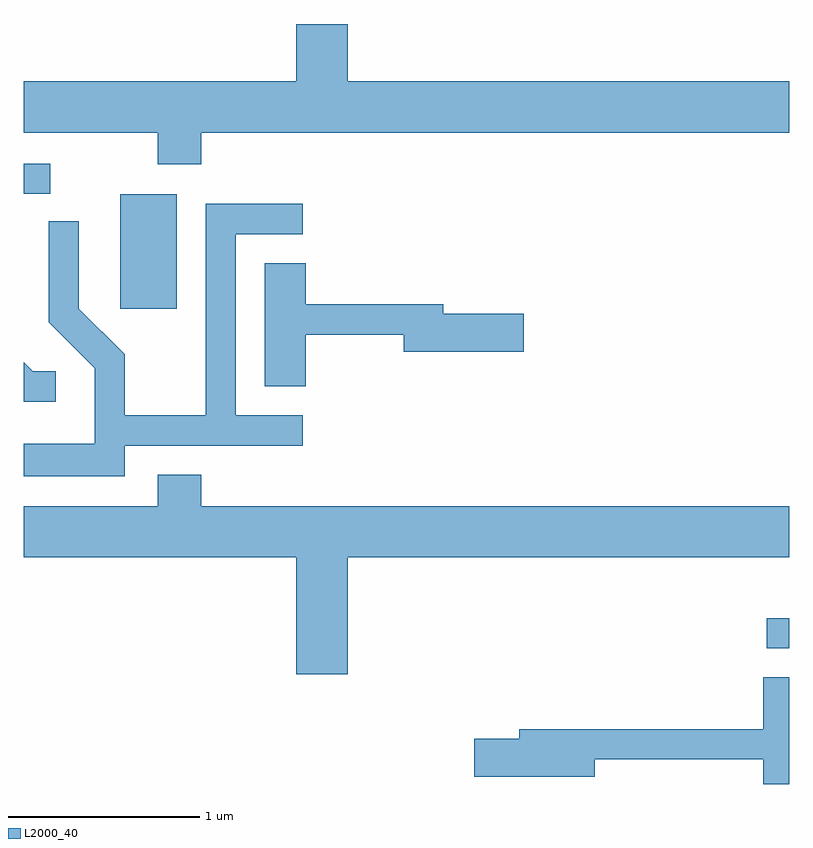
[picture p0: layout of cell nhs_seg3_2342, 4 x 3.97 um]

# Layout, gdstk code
import gdstk
lib = gdstk.Library(unit=1e-6, precision=1e-09)
def R(c, l, rs):  # rectangles x0, y0, x1, y1
    for r in rs: c.add(gdstk.rectangle(r[:2], r[2:], *l))
def P(c, l, *ps):  # polygons
    for p in ps: c.add(gdstk.Polygon(p, *l))
L2000_40 = (2000, 40)

nhs_seg3_2342 = lib.new_cell('nhs_seg3_2342')
R(nhs_seg3_2342, L2000_40, [(257.493,1176.601,257.611,1176.759), (254.116,1178.376,254.409,1178.974), (253.611,1178.976,253.748,1179.134)])
P(nhs_seg3_2342, L2000_40, [(254.539,1179.296),(257.611,1179.296),(257.611,1179.564),(255.304,1179.564),(255.304,1179.864),(255.036,1179.864),(255.036,1179.564),(253.611,1179.564),(253.611,1179.296),(254.311,1179.296),(254.311,1179.131),(254.539,1179.131)],
  [(254.139,1177.661),(255.068,1177.661),(255.068,1177.819),(254.719,1177.819),(254.719,1178.766),(255.068,1178.766),(255.068,1178.924),(254.561,1178.924),(254.561,1177.819),(254.139,1177.819),(254.139,1178.137),(253.899,1178.377),(253.899,1178.833),(253.741,1178.833),(253.741,1178.304),(253.981,1178.064),(253.981,1177.669),(253.611,1177.669),(253.611,1177.501),(254.139,1177.501)],
  [(255.084,1178.241),(255.596,1178.241),(255.596,1178.151),(256.224,1178.151),(256.224,1178.349),(255.804,1178.349),(255.804,1178.399),(255.084,1178.399),(255.084,1178.614),(254.871,1178.614),(254.871,1177.971),(255.084,1177.971)],
  [(253.778,1178.049),(253.657,1178.049),(253.611,1178.095),(253.611,1177.891),(253.778,1177.891)],
  [(255.304,1177.076),(257.611,1177.076),(257.611,1177.344),(254.539,1177.344),(254.539,1177.509),(254.311,1177.509),(254.311,1177.344),(253.611,1177.344),(253.611,1177.076),(255.036,1177.076),(255.036,1176.466),(255.304,1176.466)],
  [(257.611,1176.449),(257.476,1176.449),(257.476,1176.179),(256.201,1176.179),(256.201,1176.129),(255.966,1176.129),(255.966,1175.931),(256.594,1175.931),(256.594,1176.021),(257.476,1176.021),(257.476,1175.892),(257.611,1175.892)])

lib.write_gds('nhs_seg3_2342.gds')
